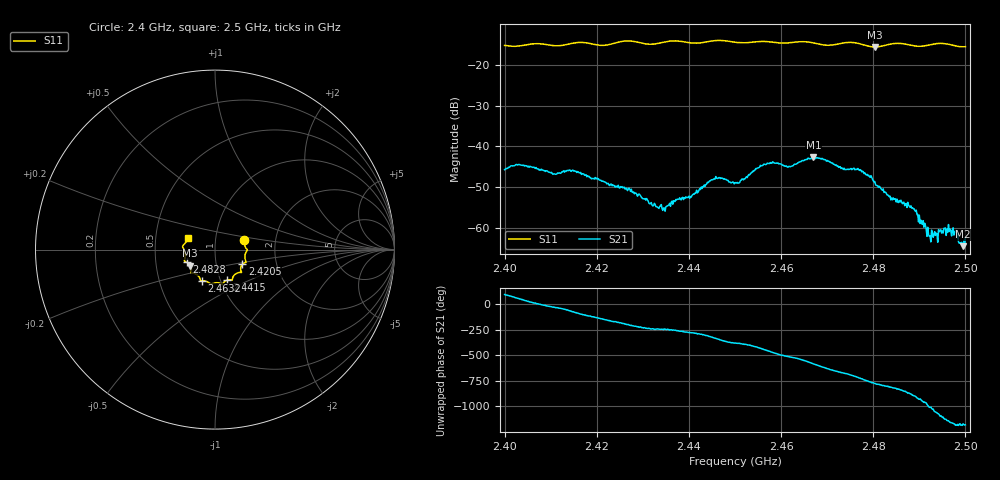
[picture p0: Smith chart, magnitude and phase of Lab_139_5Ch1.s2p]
# Hz S RI R 50
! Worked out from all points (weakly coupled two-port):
!   601 points, 2.4 GHz to 2.5 GHz, reference 50 ohm
!   highest |S21| = -42.70 dB at 2.467 GHz (marker M1); lowest = -64.4 dB at 2.4995 GHz (marker M2)
!   lowest |S11| = -15.7 dB at 2.4803 GHz (marker M3), VSWR 1.39, Z = 37.4 - j6.83 ohm
!   |S11| at or under -10 dB: start of sweep to end of sweep
!   S12 and S22 are empty: the file has one direction only
!   S11 on the Smith chart (normalised r, x): 2.4 GHz: 1.38, +0.15; 2.4205 GHz: 1.34, -0.23; 2.4415 GHz: 1.07, -0.38; 2.4632 GHz: 0.82, -0.29; 2.4828 GHz: 0.72, -0.10; 2.5 GHz: 0.73, +0.10
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2.4e9  0.1638 0.0519  -0.000202 0.00519  0 0  0 0
2.403e9  0.1675 0.0185  0.0035 0.00489  0 0  0 0
2.410833e9  0.1685 -0.0238  0.0039 -0.00247  0 0  0 0
2.416667e9  0.173 -0.07  -0.000792 -0.00448  0 0  0 0
2.4205e9  0.1519 -0.0818  -0.00294 -0.00257  0 0  0 0
2.433333e9  0.1004 -0.1515  -0.000797 0.0016  0 0  0 0
2.4415e9  0.0656 -0.1707  0.000774 0.00258  0 0  0 0
2.446e9  0.0413 -0.1925  0.00382 0.0015  0 0  0 0
2.45e9  0.0242 -0.1863  0.00335 -0.00129  0 0  0 0
2.456667e9  -0.0246 -0.1899  0.000133 -0.00599  0 0  0 0
2.463167e9  -0.0733 -0.1738  -0.00591 -0.0013  0 0  0 0
2.466667e9  -0.0822 -0.167  -0.0057 0.00449  0 0  0 0
2.467e9  -0.0827 -0.1649  -0.00519 0.00518  0 0  0 0
2.477167e9  -0.1319 -0.1216  0.00518 -0.000382  0 0  0 0
2.480333e9  -0.1378 -0.089  0.00209 -0.00309  0 0  0 0
2.482833e9  -0.1587 -0.0699  0.000311 -0.00266  0 0  0 0
2.483333e9  -0.1625 -0.0678  0.000243 -0.00248  0 0  0 0
2.488833e9  -0.1654 -0.0372  -0.00173 -0.000105  0 0  0 0
2.492e9  -0.1731 0.00123  0.000109 0.00083  0 0  0 0
2.496833e9  -0.1723 0.0288  0.000207 -0.000921  0 0  0 0
2.4995e9  -0.1548 0.0575  5.54e-06 -0.000604  0 0  0 0
2.5e9  -0.1524 0.0647  -0.000128 -0.000755  0 0  0 0
